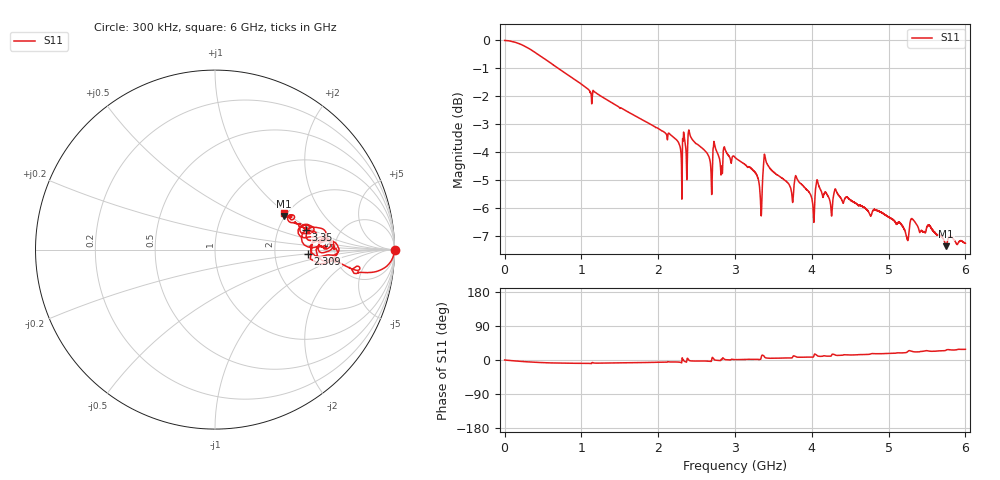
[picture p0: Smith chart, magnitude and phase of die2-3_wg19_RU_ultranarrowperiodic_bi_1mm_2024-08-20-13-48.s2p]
!Keysight Technologies,P9374A,MY57304198,A.17.20.09
!Date: Tuesday, August 20, 2024 13:48:41
!Correction: S11(C  1-Port  )
!S21(C  1-Port  )
!S12(Off)
!S22(Off)
!S2P File: Measurements: S11, S21, S12, S22:
# Hz S  dB  R 50
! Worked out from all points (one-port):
!   6000 points, 300 kHz to 6 GHz, reference 50 ohm
!   lowest |S11| = -7.4 dB at 5.749 GHz (marker M1), VSWR 2.50, Z = 98.7 + j45.4 ohm
!   |S11| at or under -10 dB: nowhere
!   S11 on the Smith chart (normalised r, x): 300 kHz: open; 2.309 GHz: 3.15, -0.19; 3.35 GHz: 2.86, +0.84; 6 GHz: 1.91, +0.97
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300000  0.00 -0.0  -200.00 45.0  -200.00 45.0  -200.00 45.0
4.283499e8  -0.49 -6.3  -200.00 45.0  -200.00 45.0  -200.00 45.0
1.000417e9  -1.56 -8.8  -200.00 45.0  -200.00 45.0  -200.00 45.0
2.000533e9  -3.15 -6.0  -200.00 45.0  -200.00 45.0  -200.00 45.0
2.276566e9  -3.73 -5.7  -200.00 45.0  -200.00 45.0  -200.00 45.0
2.308569e9  -5.69 -2.5  -200.00 45.0  -200.00 45.0  -200.00 45.0
2.417582e9  -3.41 -2.1  -200.00 45.0  -200.00 45.0  -200.00 45.0
2.679613e9  -4.40 -3.5  -200.00 45.0  -200.00 45.0  -200.00 45.0
2.74162e9  -3.82 -0.2  -200.00 45.0  -200.00 45.0  -200.00 45.0
2.813628e9  -4.66 -1.4  -200.00 45.0  -200.00 45.0  -200.00 45.0
2.874635e9  -3.93 1.0  -200.00 45.0  -200.00 45.0  -200.00 45.0
3.00065e9  -4.19 1.0  -200.00 45.0  -200.00 45.0  -200.00 45.0
3.306686e9  -5.02 1.4  -200.00 45.0  -200.00 45.0  -200.00 45.0
3.349691e9  -5.73 12.1  -200.00 45.0  -200.00 45.0  -200.00 45.0
3.405697e9  -4.34 5.5  -200.00 45.0  -200.00 45.0  -200.00 45.0
4.000767e9  -5.66 7.6  -200.00 45.0  -200.00 45.0  -200.00 45.0
4.057773e9  -5.15 13.6  -200.00 45.0  -200.00 45.0  -200.00 45.0
4.224793e9  -5.66 10.1  -200.00 45.0  -200.00 45.0  -200.00 45.0
4.2898e9  -5.46 14.6  -200.00 45.0  -200.00 45.0  -200.00 45.0
5.000883e9  -6.32 17.3  -200.00 45.0  -200.00 45.0  -200.00 45.0
5.748971e9  -7.37 26.0  -200.00 45.0  -200.00 45.0  -200.00 45.0
6e9  -7.27 28.3  -200.00 45.0  -200.00 45.0  -200.00 45.0
